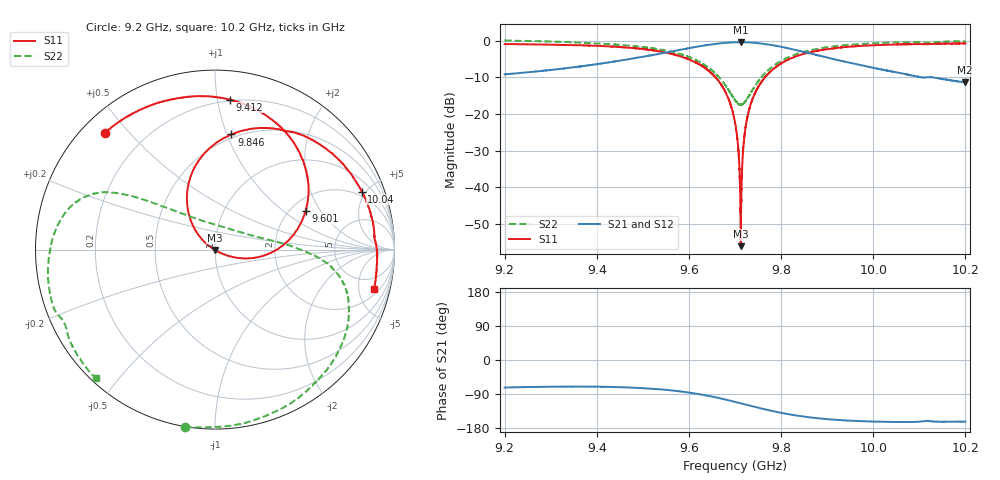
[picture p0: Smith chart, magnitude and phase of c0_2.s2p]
!Agilent Technologies,N5242A,MY51221714,A.09.90.19
!Agilent N5242A: A.09.90.19
!Date: Tuesday, March 26, 2024 15:39:55
!Correction: S11(Full 2 Port(1,2))
!S21(Full 2 Port(1,2))
!S12(Full 2 Port(1,2))
!S22(Full 2 Port(1,2))
!S2P File: Measurements: S11, S21, S12, S22:
# Hz S  dB  R 50
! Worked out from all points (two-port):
!   16001 points, 9.2 GHz to 10.2 GHz, reference 50 ohm
!   highest |S21| = -0.46 dB at 9.714 GHz (marker M1); lowest = -11.4 dB at 10.2 GHz (marker M2)
!   |S21| within 3 dB of the highest: 9.542 GHz to 9.861 GHz (319.4 MHz wide, 3.29 % of centre); 9.861453 GHz to 9.861609 GHz (155.6 kHz wide, 0.00158 % of centre)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
!   lowest |S11| = -56.0 dB at 9.713 GHz (marker M3), VSWR 1.00, Z = 49.9 - j0.149 ohm
!   |S11| at or under -10 dB: 9.657597 GHz to 9.65766 GHz (63.01 kHz wide, 0.000652 % of centre); 9.658 GHz to 9.765 GHz (107.5 MHz wide, 1.11 % of centre)
!   |S22| runs from -17.5 to 0.0 dB; largest |S21 - S12| = 0.011
!   S11 on the Smith chart (normalised r, x): 9.2 GHz: 0.07, +0.43; 9.412 GHz: 0.19, +1.09; 9.601 GHz: 2.39, +1.48; 9.846 GHz: 0.47, +1.04; 10.04 GHz: 1.66, +4.68; 10.2 GHz: 2.67, -7.16
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9.2e9  -0.98 133.5  -9.21 -72.8  -9.19 -73.5  -0.00 -99.5
9.366688e9  -1.31 95.9  -7.02 -70.3  -7.01 -70.9  -0.60 -54.9
9.4125e9  -1.51 84.2  -6.21 -70.9  -6.20 -71.4  -0.86 -43.4
9.533375e9  -2.92 48.7  -3.68 -77.1  -3.66 -77.6  -2.35 -16.6
9.601188e9  -5.21 23.2  -2.06 -86.1  -2.06 -86.7  -4.56 -5.1
9.666812e9  -11.43 -7.5  -0.79 -100.9  -0.78 -101.4  -10.20 9.9
9.687062e9  -16.27 -18.5  -0.57 -106.7  -0.56 -107.1  -13.65 23.6
9.7e9  -22.26 -25.9  -0.49 -110.5  -0.48 -111.0  -16.16 43.2
9.705188e9  -26.78 -29.7  -0.47 -112.1  -0.47 -112.6  -17.00 54.6
9.709375e9  -33.98 -36.2  -0.47 -113.4  -0.46 -113.9  -17.38 65.0
9.7125e9  -55.99 -110.5  -0.47 -114.3  -0.47 -114.8  -17.47 73.6
9.713688e9  -43.97 159.0  -0.46 -114.7  -0.46 -115.2  -17.44 77.0
9.720125e9  -26.48 147.7  -0.48 -116.7  -0.48 -117.2  -16.95 93.5
9.72475e9  -22.26 144.4  -0.51 -118.1  -0.49 -118.7  -16.21 103.5
9.745e9  -13.90 130.7  -0.67 -124.3  -0.66 -124.9  -12.05 129.7
9.785125e9  -7.56 109.4  -1.34 -135.7  -1.35 -136.2  -6.75 143.9
9.845875e9  -3.77 81.9  -2.97 -148.7  -2.98 -149.1  -3.21 152.4
9.866688e9  -3.11 73.8  -3.61 -152.0  -3.62 -152.4  -2.57 155.3
1.003338e10  -1.15 23.3  -8.27 -163.2  -8.26 -163.7  -0.57 -173.5
1.004e10  -1.13 21.6  -8.42 -163.4  -8.42 -163.8  -0.54 -172.0
1.019981e10  -0.79 -13.9  -11.41 -162.5  -11.39 -163.0  -0.19 -132.9
1.02e10  -0.78 -14.0  -11.40 -162.5  -11.41 -163.0  -0.20 -132.9
